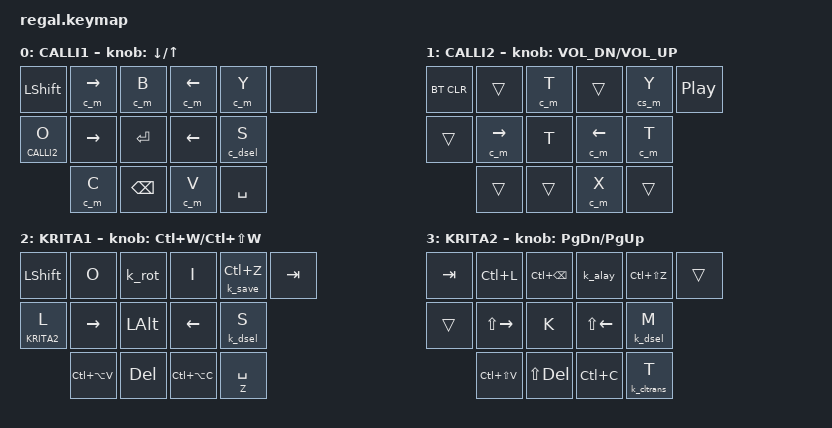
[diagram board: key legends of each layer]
//                                                      ▀▀▀█
//               ▄▄▄▄      ▄▄▄      ▄▄▄▄▄      ▄▄▄▄▄       █
//               █        █▄▄▄█    █    █     █    █       █
//            ▄▄▄█▄▄▄     ▀▄▄▄     ▀▄▄▄▄█     ▀▄▄▄▀█    ▄▄▄█▄▄▄
//                                  ▄▄▄▄▀  


#include <behaviors.dtsi>
#include <dt-bindings/zmk/keys.h>
#include <dt-bindings/zmk/bt.h>
#include <dt-bindings/zmk/outputs.h>
//#include <dt-bindings/zmk/mouse.h>

#define CALLI1  0
#define CALLI2  1
#define KRITA1  2
#define KRITA2  3

/ {
    behaviors {

        k_rot: k_rot_reset {
            compatible = "zmk,behavior-tap-dance";
            label = "Rotation_Reset";
            #binding-cells = <0>;
            tapping-term-ms = <300>;
            bindings = <&kp LC(SPACE)>, <&kp LS(R)>;
        };

        k_unsav: t_unsav {
            compatible = "zmk,behavior-hold-tap";
            label = "KRITA_UndoSave";
            #binding-cells = <2>;
            flavor = "tap-preferred";
            tapping-term-ms = <400>;
            quick-tap-ms = <1000>;
            global-quick-tap;
            bindings = <&k_save>, <&kp>;
        };

        k_resav: t_resav {
            compatible = "zmk,behavior-hold-tap";
            label = "KRITA_RedoSaveInc";
            #binding-cells = <2>;
            flavor = "tap-preferred";
            tapping-term-ms = <400>;
            quick-tap-ms = <1000>;
            global-quick-tap;
            bindings = <&k_saveinc>, <&kp>;
        };

        k_plbs: k_plbs {
            compatible = "zmk,behavior-hold-tap";
            label = "KRITA_PlayBrushsize";
            #binding-cells = <2>;
            flavor = "tap-preferred";
            tapping-term-ms = <400>;
            quick-tap-ms = <1000>;
            global-quick-tap;
            bindings = <&kp>, <&kp>;
        };

        k_sel: k_sel {
            compatible = "zmk,behavior-hold-tap";
            label = "KRITA_SelectDeselect";
            #binding-cells = <2>;
            flavor = "tap-preferred";
            tapping-term-ms = <400>;
            quick-tap-ms = <1000>;
            global-quick-tap;
            bindings = <&k_dsel>, <&kp>;
        };

        c_sel: c_sel {
            compatible = "zmk,behavior-hold-tap";
            label = "CALLI_SelectDeselect";
            #binding-cells = <2>;
            flavor = "tap-preferred";
            tapping-term-ms = <400>;
            quick-tap-ms = <1000>;
            global-quick-tap;
            bindings = <&c_dsel>, <&kp>;
        };

        k_move: k_move {
            compatible = "zmk,behavior-hold-tap";
            label = "KRITA_Move";
            #binding-cells = <2>;
            flavor = "tap-preferred";
            tapping-term-ms = <400>;
            quick-tap-ms = <1000>;
            global-quick-tap;
            bindings = <&k_dsel>, <&kp>;
        };

        k_trans: k_trans {
            compatible = "zmk,behavior-hold-tap";
            label = "KRITA_Transform";
            #binding-cells = <2>;
            flavor = "tap-preferred";
            tapping-term-ms = <400>;
            quick-tap-ms = <1000>;
            global-quick-tap;
            bindings = <&k_cltrans>, <&kp>;
        };

        c_trans: c_trans {
            compatible = "zmk,behavior-hold-tap";
            label = "CALLI_Transform";
            #binding-cells = <2>;
            flavor = "tap-preferred";
            tapping-term-ms = <400>;
            quick-tap-ms = <1000>;
            global-quick-tap;
            bindings = <&c_cltrans>, <&kp>;
        };

    };

    macros {
        
        c_split: c_split {
            label = "c_split";
            compatible = "zmk,behavior-macro";
            #binding-cells = <0>;
            bindings
                = <&macro_press &kp LCTRL>
                , <&macro_tap &kp B>
                , <&macro_release &kp LCTRL>
                ;
        };

        c_m: c_m {
            label = "ctrl_macro";
            compatible = "zmk,behavior-macro-one-param";
            #binding-cells = <1>;
            bindings
                = <&macro_press &kp LCTRL>
                , <&macro_param_1to1>
                , <&macro_tap &kp MACRO_PLACEHOLDER>
                , <&macro_release &kp LCTRL>
                ;
        };

        cs_m: cs_m {
            label = "ctrlshift_macro";
            compatible = "zmk,behavior-macro-one-param";
            #binding-cells = <1>;
            bindings
                = <&macro_press &kp LCTRL>
                , <&macro_press &kp LSHIFT>
                , <&macro_param_1to1>
                , <&macro_tap &kp MACRO_PLACEHOLDER>
                , <&macro_release &kp LSHIFT>
                , <&macro_release &kp LCTRL>
                ;
        };

        k_save: k_save {
            label = "KRITA_Save";
            compatible = "zmk,behavior-macro";
            #binding-cells = <0>;
            bindings
                = <&macro_tap &kp LC(S)>
                ;
        };

        k_saveinc: k_saveinc {
            label = "KRITA_SaveInc";
            compatible = "zmk,behavior-macro";
            #binding-cells = <0>;
            bindings
                = <&macro_tap &kp LC(LA(S))>
                ;
        };

        k_alay: k_alay {
            label = "KRITA_NewAnimLayer";
            compatible = "zmk,behavior-macro";
            #binding-cells = <0>;
            bindings
                = <&macro_tap &kp LC(L)>
                , <&macro_tap &kp K>
                ;
        };

        k_dsel: k_dsel {
            label = "KRITA_Deselect";
            compatible = "zmk,behavior-macro";
            #binding-cells = <0>;
            bindings
                = <&macro_tap &kp D>
                , <&macro_tap &kp B>
                ;
        };

        c_dsel: c_dsel {
            label = "CALLI_Deselect";
            compatible = "zmk,behavior-macro";
            #binding-cells = <0>;
            bindings
                = <&macro_tap &kp LC(T)>
                , <&macro_tap &kp RETURN>
                , <&macro_tap &kp B>
                ;
        };

        k_cltrans: k_cltrans {
            label = "KRITA_ClearTrans";
            compatible = "zmk,behavior-macro";
            #binding-cells = <0>;
            bindings
                = <&macro_tap &kp RETURN>
                , <&macro_tap &k_dsel>
                ;
        };

        c_cltrans: c_cltrans {
            label = "CALLI_ClearTrans";
            compatible = "zmk,behavior-macro";
            #binding-cells = <0>;
            bindings
                = <&macro_tap &kp RETURN>
                ;
        };

    };

// ───────────────────────────────────────────────────────────────────────────

        keymap {
                compatible = "zmk,keymap";

                calli1_layer {
// ┌───────────────────────────────────┐
label= "CALLI1"                        ;
// └───────────────────────────────────┘
// ┌───────────┬───────────┬───────────┬───────────┐╭───────────╮╭───────────╮
// │ SHIFT     │ NEXT KEY  │ SPLIT LAY │ PREV KEY  ││ UNDO      ││           │
// ├───────────┼───────────┼───────────┼───────────┤├───────────┤╰───────────╯
// │ L2/ONION  │ NXT FRAME │ RETURN    │ PRV FRAME ││ SEL/DSEL  │
// └───────────┼───────────┼───────────┼───────────┤├───────────┤
//             │ PASTE     │ CLEAR     │ COPY      ││ PLAY      │
//             └───────────┴───────────┴───────────┘╰───────────╯
 bindings = <
// ╷           ╷           ╷           ╷           ╷╷           ╷╷           ╷

    &kp LSHFT   &c_m RIGHT  &c_m B      &c_m LEFT    &c_m Y       &none
    &lt CALLI2 O &kp RIGHT  &kp RET     &kp LEFT     &c_sel 0 S
                &c_m C      &kp BSPC    &c_m V       &kp SPACE   
                        >;
            sensor-bindings = <&inc_dec_kp DOWN UP>; // NEXT LAYER / PREV LAYER
                };   

// ───────────────────────────────────────────────────────────────────────────

                calli2_layer {
// ┌───────────────────────────────────┐
label= "CALLI2"                        ;
// └───────────────────────────────────┘
// ┌───────────┬───────────┬───────────┬───────────┐╭───────────╮╭───────────╮
// │ BT CLEAR  │    ---    │ TRANSFORM │    ---    ││ REDO      ││ PLAYPAUSE │
// ├───────────┼───────────┼───────────┼───────────┤├───────────┤╰───────────╯
// │    ---    │ NEXT KEY  │    ---    │ PREV KEY  ││ TRANSFORM │
// └───────────┼───────────┼───────────┼───────────┤├───────────┤
//             │    ---    │    ---    │ CUT       ││    ---    │
//             └───────────┴───────────┴───────────┘╰───────────╯
 bindings = <
// ╷           ╷           ╷           ╷           ╷╷           ╷╷           ╷

    &bt BT_CLR  &trans      &c_m T      &trans       &cs_m Y &kp  C_PP
    &trans      &c_m RIGHT  &kp T       &c_m LEFT    &c_m T
                &trans      &trans      &c_m X       &trans      
                        >;
            sensor-bindings = <&inc_dec_kp C_VOL_DN C_VOL_UP>; // VOL DOWN / VOL UP
                };


// ───────────────────────────────────────────────────────────────────────────

                krita1_layer {
// ┌───────────────────────────────────┐
label= "KRITA1"                        ;
// └───────────────────────────────────┘
// ┌───────────┬───────────┬───────────┬───────────┐╭───────────╮╭───────────╮
// │ SHIFT     │ MARK OUT  │ ROT/RESET │ MARK IN   ││ UNDO/SAVE ││ FSCREEN   │
// ├───────────┼───────────┼───────────┼───────────┤├───────────┤╰───────────╯
// │ KRITA2    │ NXT FRAME │ PAN       │ PRV FRAME ││ SEL/DSEL  │
// └───────────┼───────────┼───────────┼───────────┤├───────────┤
//             │ PASTE KF  │ CLEAR     │ COPY KF   ││ PLAY      │
//             └───────────┴───────────┴───────────┘╰───────────╯
 bindings = <
// ╷           ╷           ╷           ╷           ╷╷           ╷╷           ╷

    &kp LSHFT   &kp O       &k_rot      &kp I        &k_unsav 0 LC(Z) &kp TAB
    &lt KRITA2 L &kp RIGHT  &kp LALT    &kp LEFT     &k_sel 0 S
              &kp LC(LA(V)) &kp DEL     &kp LC(LA(C)) &k_plbs Z SPACE   
                        >;
            sensor-bindings = <&inc_dec_kp LC(W) LC(LS(W))>; // NEW HOLD / DEL HOLD
                };   

// ───────────────────────────────────────────────────────────────────────────

                krita2_layer {
// ┌───────────────────────────────────┐
label= "KRITA2"                        ;
// └───────────────────────────────────┘
// ┌───────────┬───────────┬───────────┬───────────┐╭───────────╮╭───────────╮
// │ FSCREEN   │ NEW LAYER │ DEL LAYER │ NEW ALAY  ││ REDO/SAVE ││           │
// ├───────────┼───────────┼───────────┼───────────┤├───────────┤╰───────────╯
// │    ---    │ NEXT KEY  │ NEW KEY   │ PREV KEY  ││ MOVE      │
// └───────────┼───────────┼───────────┼───────────┤├───────────┤
//             │ PASTE     │ DEL KEY   │ COPY      ││ TRANSFORM │
//             └───────────┴───────────┴───────────┘╰───────────╯
 bindings = <
// ╷           ╷           ╷           ╷           ╷╷           ╷╷           ╷

    &kp TAB     &kp LC(L)     &kp LC(BSPC) &k_alay &kp LC(LS(Z)) &trans
    &trans      &kp LS(RIGHT) &kp K     &kp LS(LEFT) &k_move 0 M
                &kp LC(LS(V)) &kp LS(DEL) &kp LC(C)  &k_trans 0 T        
                        >;
            sensor-bindings = <&inc_dec_kp PG_DN PG_UP>; // NEXT LAYER / PREV LAYER
                };


// ─────────────────────────────────────────────────────────────────────────── 

        };
};

